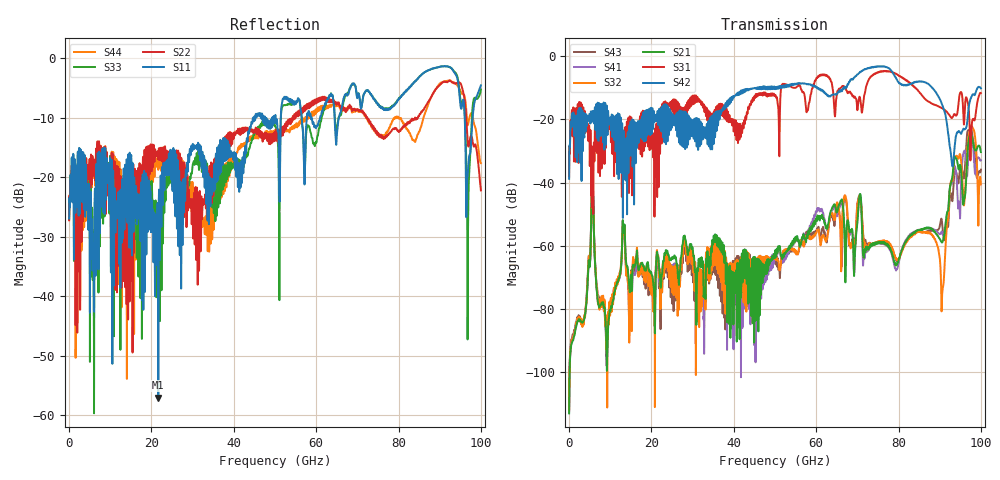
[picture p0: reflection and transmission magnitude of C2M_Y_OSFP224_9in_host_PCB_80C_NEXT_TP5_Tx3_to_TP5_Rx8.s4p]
# GHz S RI R 45
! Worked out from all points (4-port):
!   4000 points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, 25 MHz to 100 GHz, reference 45 ohm
!   strongest paths, dB at 25 MHz, 25.02 GHz, 50.02 GHz, 75.03 GHz, 100 GHz:
!     S42: -38.8, -22.3, -10.4, -3.3, -10.2
!     S31: -38.1, -14.4, -12.4, -5.0, -11.6
!     S21: -113.1, -64.0, -62.1, -58.8, -30.3
!     S32: -112.2, -73.6, -63.5, -58.6, -40.6
!     S41: -112.5, -66.5, -64.3, -59.2, -32.9
!     S43: -111.8, -77.6, -63.6, -58.9, -35.9
!   lowest |S11| = -57.0 dB at 21.68 GHz (marker M1), VSWR 1.00, Z = 45.1 - j0.026 ohm
!   |S11| at or under -10 dB: start of sweep to 44.65 GHz; 58.95 GHz to 60.92 GHz (1.968 GHz wide, 3.28 % of centre); 96.08 GHz to 98 GHz (1.928 GHz wide, 1.99 % of centre) (the widest 3 of 15)
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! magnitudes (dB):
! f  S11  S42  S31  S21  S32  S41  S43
! 25 MHz  -26.9  -38.8  -38.1  -113.1  -112.2  -112.5  -111.8
! 5.7 GHz  -34.8  -18.1  -35.6  -41.9  -41.8  -41.8  -41.8
! 7.425 GHz  -19.7  -19.4  -18.5  -79.4  -80.1  -78.5  -77.7
! 21.68 GHz  -57.0  -21.8  -23.3  -63.6  -63.4  -66.0  -66.2
! 90.67 GHz  -1.4  -15.6  -16.5  -58.8  -74.1  -56.3  -54.3
! 93.85 GHz  -2.7  -25.8  -18.7  -32.1  -31.7  -35.6  -36.5
! 100 GHz  -4.6  -10.2  -11.6  -30.3  -40.6  -32.9  -35.9
